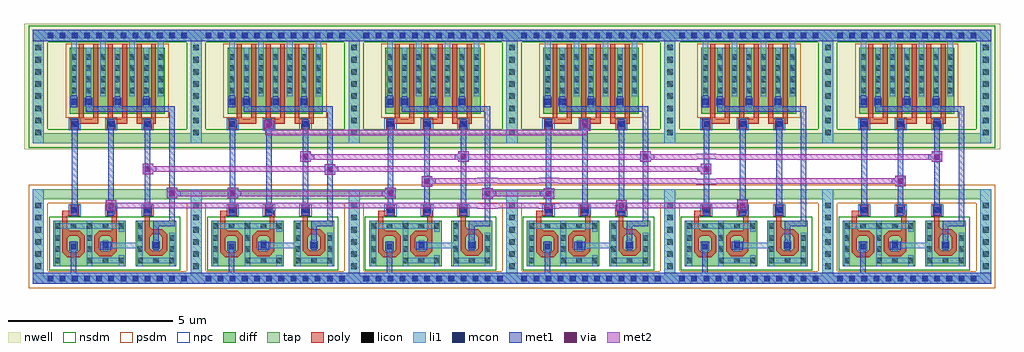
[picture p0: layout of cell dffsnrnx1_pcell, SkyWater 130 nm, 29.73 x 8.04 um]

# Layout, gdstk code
from math import pi, radians
import gdstk
lib = gdstk.Library(unit=1e-6, precision=1e-09)
def R(c, l, rs):  # rectangles x0, y0, x1, y1
    for r in rs: c.add(gdstk.rectangle(r[:2], r[2:], *l))
def A(c, l, x, y, w, h, nx, ny, dx, dy):  # array of equal rectangles
    R(c, l, [(x+i*dx, y+j*dy, x+i*dx+w, y+j*dy+h) for i in range(nx) for j in range(ny)])
def P(c, l, *ps):  # polygons
    for p in ps: c.add(gdstk.Polygon(p, *l))
nwell = (64, 20)
diff = (65, 20)
tap = (65, 44)
poly = (66, 20)
licon = (66, 44)
li1 = (67, 20)
mcon = (67, 44)
met1 = (68, 20)
via = (68, 44)
met2 = (69, 20)
nsdm = (93, 44)
psdm = (94, 20)
npc = (95, 20)

li1_m1_contact = lib.new_cell('li1_M1_contact')
R(li1_m1_contact, li1, [(-0.085,-0.165,0.085,0.165)])
R(li1_m1_contact, mcon, [(-0.085,-0.085,0.085,0.085)])
R(li1_m1_contact, met1, [(-0.115,-0.115,0.115,-0.085), (-0.265,-0.085,0.145,0.085), (-0.115,0.085,0.115,0.115)])

diff_ring_side = lib.new_cell('diff_ring_side')
R(diff_ring_side, nwell, [(-0.435,3.93,0.435,7.75)])
R(diff_ring_side, tap, [(-0.17,-0.17,0.17,2.72), (-0.17,4.11,0.17,7.57)])
A(diff_ring_side, licon, -0.085, 0.285, 0.17, 0.17, 1, 6, 0, 0.37)
A(diff_ring_side, licon, -0.085, 4.355, 0.17, 0.17, 1, 8, 0, 0.37)
R(diff_ring_side, li1, [(-0.17,-0.17,0.17,2.72), (-0.17,4.11,0.17,7.57)])
R(diff_ring_side, met1, [(-0.17,-0.17,0.17,0.17), (-0.17,7.23,0.17,7.57)])
R(diff_ring_side, nsdm, [(-0.295,3.985,0.295,7.695)])
R(diff_ring_side, psdm, [(-0.295,-0.295,0.295,2.845)])

nmos_bottom = lib.new_cell('nmos_bottom')
R(nmos_bottom, diff, [(0,0,1.24,1.38)])
R(nmos_bottom, poly, [(0.43,0.27,0.81,0.42), (0.28,0.42,0.43,0.925), (0.81,0.42,0.96,0.925), (0.43,0.925,0.96,1.075), (0.81,1.075,0.96,1.51)])
P(nmos_bottom, poly, [(0.73,1.075),(0.81,1.075),(0.81,1.155)],
  [(0.28,0.925),(0.43,0.925),(0.43,1.075)],
  [(0.43,0.845),(0.43,0.925),(0.51,0.925)],
  [(0.73,0.925),(0.81,0.925),(0.81,0.845)],
  [(0.43,0.5),(0.43,0.42),(0.51,0.42)],
  [(0.73,0.42),(0.81,0.42),(0.81,0.5)],
  [(0.28,0.42),(0.43,0.42),(0.43,0.27)],
  [(0.81,0.27),(0.81,0.42),(0.96,0.42)])
A(nmos_bottom, licon, 0.05, 1.13, 0.17, 0.17, 3, 1, 0.485, 0)
R(nmos_bottom, licon, [(0.05,0.08,0.22,0.25), (1.02,0.08,1.19,0.25), (0.05,0.43,0.22,0.6), (1.02,0.43,1.19,0.6), (0.535,0.505,0.705,0.675), (0.05,0.77,0.22,0.94), (1.02,0.77,1.19,0.94)])
R(nmos_bottom, li1, [(0.05,0,0.22,1.13), (1.02,0,1.19,1.13), (0.535,0.425,0.705,0.755), (0.05,1.13,1.19,1.3), (0.05,1.3,0.22,1.38), (1.02,1.3,1.19,1.38)])
R(nmos_bottom, nsdm, [(-0.125,-0.125,1.365,1.505)])

pmos2 = lib.new_cell('pmos2')
R(pmos2, nwell, [(0.26,-2.18,1.76,0.18)])
R(pmos2, diff, [(0.44,-2,1.58,0)])
R(pmos2, poly, [(0.72,-2.305,1.31,-2.155), (0.72,-2.155,0.87,0.13), (1.16,-2.155,1.31,0.13)])
A(pmos2, licon, 0.49, -1.38, 0.17, 0.17, 3, 4, 0.44, 0.34)
R(pmos2, li1, [(0.49,-1.465,0.66,0.21), (0.93,-1.465,1.1,0), (1.37,-1.465,1.54,0.21)])
R(pmos2, psdm, [(0.315,-2.125,1.705,0.125)])

poly_li1_contact = lib.new_cell('poly_li1_contact')
R(poly_li1_contact, poly, [(-0.16,-0.14,0.17,0.13)])
R(poly_li1_contact, licon, [(-0.08,-0.09,0.09,0.08)])
R(poly_li1_contact, li1, [(-0.16,-0.09,0.17,0.08)])
R(poly_li1_contact, npc, [(-0.18,-0.19,0.19,0.18)])

nmos_side_left = lib.new_cell('nmos_side_left')
R(nmos_side_left, diff, [(0,0,1.24,1.38)])
R(nmos_side_left, poly, [(0.435,0.305,0.81,0.455), (0.285,0.455,0.435,0.925), (0.81,0.455,0.96,0.925), (0.435,0.925,0.96,1.075), (0.81,1.075,0.96,1.51)])
P(nmos_side_left, poly, [(0.285,0.925),(0.435,0.925),(0.435,1.075)],
  [(0.435,0.845),(0.435,0.925),(0.515,0.925)],
  [(0.73,0.925),(0.81,0.925),(0.81,0.845)],
  [(0.435,0.535),(0.435,0.455),(0.515,0.455)],
  [(0.73,0.455),(0.81,0.455),(0.81,0.535)],
  [(0.285,0.455),(0.435,0.455),(0.435,0.305)],
  [(0.81,0.305),(0.81,0.455),(0.96,0.455)])
A(nmos_side_left, licon, 0.05, 0.08, 0.17, 0.17, 3, 2, 0.485, 1.05)
R(nmos_side_left, licon, [(0.05,0.43,0.22,0.6), (0.54,0.535,0.71,0.705), (0.05,0.77,0.22,0.94)])
R(nmos_side_left, li1, [(0.05,0,0.22,0.08), (1.02,0,1.19,0.08), (0.05,0.08,1.19,0.25), (0.05,0.25,0.22,1.13), (1.02,0.25,1.19,0.33), (0.54,0.455,0.71,0.785), (1.02,1.05,1.19,1.13), (0.05,1.13,1.19,1.3), (0.05,1.3,0.22,1.38), (1.02,1.3,1.19,1.38)])
R(nmos_side_left, nsdm, [(-0.125,-0.125,1.365,1.505)])

nmos_top_trim1 = lib.new_cell('nmos_top_trim1')
R(nmos_top_trim1, diff, [(0,0,1.24,1.38)])
R(nmos_top_trim1, poly, [(0.43,0.31,0.81,0.46), (0.28,0.46,0.43,0.965), (0.81,0.46,0.96,0.965), (0.43,0.965,0.96,1.115), (0.81,1.115,0.96,1.545)])
P(nmos_top_trim1, poly, [(0.73,1.115),(0.81,1.115),(0.81,1.195)],
  [(0.28,0.965),(0.43,0.965),(0.43,1.115)],
  [(0.43,0.885),(0.43,0.965),(0.51,0.965)],
  [(0.73,0.965),(0.81,0.965),(0.81,0.885)],
  [(0.43,0.54),(0.43,0.46),(0.51,0.46)],
  [(0.73,0.46),(0.81,0.46),(0.81,0.54)],
  [(0.28,0.46),(0.43,0.46),(0.43,0.31)],
  [(0.81,0.31),(0.81,0.46),(0.96,0.46)])
A(nmos_top_trim1, licon, 0.05, 0.08, 0.17, 0.17, 3, 1, 0.485, 0)
R(nmos_top_trim1, licon, [(0.05,0.43,0.22,0.6), (1.02,0.43,1.19,0.6), (0.535,0.55,0.705,0.72), (0.05,0.77,0.22,0.94), (1.02,0.77,1.19,0.94), (1.02,1.13,1.19,1.3)])
R(nmos_top_trim1, li1, [(0.05,0,0.22,0.08), (1.02,0,1.19,0.08), (0.05,0.08,1.19,0.25), (0.05,0.25,0.22,1.02), (1.02,0.25,1.19,1.38), (0.535,0.47,0.705,0.805)])
R(nmos_top_trim1, nsdm, [(-0.125,-0.125,1.365,1.505)])

nand3x1_pcell = lib.new_cell('nand3x1_pcell')
R(nand3x1_pcell, nwell, [(0.435,3.93,4.375,5.28), (0.435,5.28,1.1,5.295), (1.395,5.28,4.375,5.495), (0.435,5.295,1.025,5.465), (1.145,5.295,1.315,5.465), (0.435,5.465,1.1,5.495), (0.435,5.495,4.375,7.75)])
A(nand3x1_pcell, diff, 1.445, 5.295, 0.17, 0.17, 3, 1, 0.88, 0)
R(nand3x1_pcell, diff, [(1.005,5.295,1.175,5.465)])
R(nand3x1_pcell, tap, [(0.17,-0.17,4.64,0.085), (0.17,2.41,4.64,2.72), (0.17,4.11,4.64,4.42), (0.17,7.315,4.64,7.57)])
R(nand3x1_pcell, poly, [(0.735,1.885,0.885,1.915), (2.235,1.885,2.385,1.915), (0.735,1.915,0.975,2.065), (2.355,1.915,2.385,2.065)])
A(nand3x1_pcell, licon, 0.285, -0.085, 0.17, 0.17, 12, 2, 0.37, 7.4)
A(nand3x1_pcell, licon, 1.445, 5.295, 0.17, 0.17, 3, 1, 0.88, 0)
R(nand3x1_pcell, licon, [(1.005,5.295,1.175,5.465)])
A(nand3x1_pcell, li1, 1.025, 1.995, 0.17, 0.17, 3, 2, 1.11, 2.62)
R(nand3x1_pcell, li1, [(0.17,-0.17,4.65,0.17), (0.99,0.88,1.16,1.05), (1.965,0.91,3.015,1.08), (3.5,0.925,3.67,1.095), (1.005,5.215,1.175,5.6), (1.445,5.215,1.615,5.56), (2.325,5.215,2.495,5.585), (3.205,5.215,3.375,5.56), (0.07,7.23,4.715,7.57)])
A(nand3x1_pcell, mcon, 0.285, -0.085, 0.17, 0.17, 12, 2, 0.37, 7.4)
A(nand3x1_pcell, mcon, 1.025, 1.995, 0.17, 0.17, 3, 2, 1.11, 2.62)
A(nand3x1_pcell, mcon, 1.445, 5.295, 0.17, 0.17, 3, 1, 0.88, 0)
R(nand3x1_pcell, mcon, [(0.99,0.88,1.16,1.05), (1.965,0.91,2.135,1.08), (3.5,0.925,3.67,1.095), (1.005,5.295,1.175,5.465)])
A(nand3x1_pcell, met1, 1.025, 1.915, 0.17, 0.04, 3, 1, 1.11, 0)
A(nand3x1_pcell, met1, 1.445, 5.495, 0.17, 0.06, 3, 1, 0.88, 0)
R(nand3x1_pcell, met1, [(0.17,-0.17,4.64,0.17), (0.99,0.17,1.16,0.835), (0.945,0.835,1.205,1.11), (1.89,0.865,2.225,1.115), (3.5,0.865,3.67,0.895), (3.47,0.895,3.7,1.125), (3.5,1.125,3.67,1.58), (3.5,1.58,4.155,1.75), (3.985,1.75,4.155,5.07), (0.995,1.955,1.225,2.195), (2.105,1.955,2.34,2.195), (3.215,1.955,3.445,2.195), (1.025,2.195,1.195,4.575), (2.135,2.195,2.305,4.585), (3.245,2.195,3.415,4.57), (3.215,4.57,3.445,4.815), (0.99,4.575,1.23,4.835), (2.105,4.585,2.335,4.815), (2.135,4.815,2.305,4.845), (3.245,4.815,3.415,4.845), (1.025,4.835,1.195,4.845), (1.445,5.07,4.155,5.24), (0.965,5.215,1.205,5.535), (1.415,5.24,1.65,5.495), (2.29,5.24,2.53,5.495), (3.175,5.24,3.405,5.495), (1.005,5.535,1.175,5.58), (0.17,7.23,4.64,7.57)])
R(nand3x1_pcell, nsdm, [(2.79,0.25,2.84,1.88), (0.045,3.985,4.765,4.545), (0.045,7.19,4.765,7.695)])
R(nand3x1_pcell, psdm, [(0.045,-0.295,4.765,0.21), (0.045,2.285,4.765,2.845), (0.88,5.17,1.74,5.59), (2.2,5.17,2.62,5.59), (3.08,5.17,3.5,5.59)])
nand3x1_pcell.add(gdstk.Reference(diff_ring_side, (0,0)))
nand3x1_pcell.add(gdstk.Reference(nmos_bottom, (1.695,0.375), rotation=pi, x_reflection=True))
nand3x1_pcell.add(gdstk.Reference(pmos2, (0.515,7.02)))
nand3x1_pcell.add(gdstk.Reference(poly_li1_contact, (1.115,4.705), rotation=3*pi/2))
nand3x1_pcell.add(gdstk.Reference(poly_li1_contact, (1.105,2.075), rotation=pi/2))
nand3x1_pcell.add(gdstk.Reference(nmos_side_left, (1.425,0.375)))
nand3x1_pcell.add(gdstk.Reference(pmos2, (1.395,7.02)))
nand3x1_pcell.add(gdstk.Reference(pmos2, (2.275,7.02)))
nand3x1_pcell.add(gdstk.Reference(poly_li1_contact, (2.215,2.075), rotation=pi/2))
nand3x1_pcell.add(gdstk.Reference(poly_li1_contact, (2.215,4.695), rotation=pi/2))
nand3x1_pcell.add(gdstk.Reference(nmos_top_trim1, (4.205,0.375), rotation=pi, x_reflection=True))
nand3x1_pcell.add(gdstk.Reference(poly_li1_contact, (3.325,2.075), rotation=pi/2))
nand3x1_pcell.add(gdstk.Reference(poly_li1_contact, (3.335,4.705), rotation=3*pi/2))
nand3x1_pcell.add(gdstk.Reference(diff_ring_side, (4.81,0)))

dffsnrnx1_pcell = lib.new_cell('dffsnrnx1_pcell')
R(dffsnrnx1_pcell, met1, [(2.06,2.06,2.38,2.38), (17.605,2.065,17.925,2.385), (21.295,2.07,21.615,2.39), (13.53,2.43,13.85,2.75), (15.39,2.43,15.71,2.75), (3.915,2.445,4.235,2.765), (5.765,2.445,6.085,2.765), (10.57,2.445,10.89,2.765), (11.68,2.785,12,3.105), (26.11,2.805,26.43,3.125), (8.72,3.155,9.04,3.475), (20.185,3.17,20.505,3.49), (3.18,3.175,3.5,3.495), (27.22,3.545,27.54,3.865), (7.98,3.555,8.3,3.875), (12.79,3.555,13.11,3.875), (18.33,3.555,18.65,3.875), (6.865,4.495,7.185,4.815), (16.495,4.495,16.815,4.815)])
R(dffsnrnx1_pcell, via, [(2.145,2.145,2.295,2.295), (17.69,2.15,17.84,2.3), (21.38,2.155,21.53,2.305), (13.615,2.515,13.765,2.665), (15.475,2.515,15.625,2.665), (4,2.53,4.15,2.68), (5.85,2.53,6,2.68), (10.655,2.53,10.805,2.68), (11.765,2.87,11.915,3.02), (26.195,2.89,26.345,3.04), (8.805,3.24,8.955,3.39), (20.27,3.255,20.42,3.405), (3.265,3.26,3.415,3.41), (27.305,3.63,27.455,3.78), (8.065,3.64,8.215,3.79), (12.875,3.64,13.025,3.79), (18.415,3.64,18.565,3.79), (6.95,4.58,7.1,4.73), (16.58,4.58,16.73,4.73)])
R(dffsnrnx1_pcell, met2, [(2.06,2.06,2.38,2.135), (17.605,2.065,17.925,2.135), (21.295,2.07,21.615,2.135), (13.39,2.12,13.99,2.135), (15.25,2.12,15.85,2.135), (2.06,2.135,21.615,2.29), (2.06,2.29,13.39,2.305), (13.99,2.29,15.25,2.305), (15.85,2.29,21.615,2.305), (2.06,2.305,2.38,2.38), (17.605,2.305,17.925,2.385), (21.295,2.305,21.615,2.39), (13.53,2.43,13.85,2.505), (15.39,2.43,15.71,2.505), (3.915,2.445,4.235,2.505), (5.765,2.445,6.085,2.505), (10.57,2.445,10.89,2.505), (3.915,2.505,10.89,2.675), (13.53,2.505,15.71,2.675), (3.915,2.675,4.235,2.765), (5.765,2.675,6.085,2.765), (10.57,2.675,10.89,2.765), (13.53,2.675,13.85,2.75), (15.39,2.675,15.71,2.75), (11.68,2.785,12,2.875), (26.11,2.805,26.43,2.875), (20.045,2.86,20.645,2.875), (11.68,2.875,13.39,2.89), (13.99,2.875,15.25,2.89), (15.85,2.875,26.43,2.89), (11.68,2.89,26.43,3.03), (11.68,3.03,20.045,3.045), (20.645,3.03,26.43,3.045), (11.68,3.045,12,3.105), (13.39,3.045,13.99,3.06), (15.25,3.045,15.85,3.06), (26.11,3.045,26.43,3.125), (8.72,3.155,9.04,3.245), (20.185,3.17,20.505,3.245), (3.18,3.175,3.5,3.245), (3.18,3.245,20.505,3.415), (3.18,3.415,3.5,3.495), (8.72,3.415,9.04,3.475), (20.185,3.415,20.505,3.49), (27.22,3.545,27.54,3.615), (7.98,3.555,8.3,3.615), (12.79,3.555,13.11,3.615), (18.33,3.555,18.65,3.615), (7.98,3.615,20.045,3.63), (20.645,3.615,27.54,3.63), (7.98,3.63,27.54,3.785), (7.98,3.785,8.3,3.875), (12.79,3.785,13.11,3.875), (18.33,3.785,18.65,3.875), (20.045,3.785,20.645,3.8), (27.22,3.785,27.54,3.865), (6.91,4.355,16.715,4.495), (6.865,4.495,16.815,4.525), (6.865,4.525,7.185,4.815), (16.495,4.525,16.815,4.815)])
dffsnrnx1_pcell.add(gdstk.Reference(li1_m1_contact, (3.33,3.33), rotation=pi))
dffsnrnx1_pcell.add(gdstk.Reference(li1_m1_contact, (4.07,2.59), rotation=pi))
dffsnrnx1_pcell.add(gdstk.Reference(nand3x1_pcell, (0,0)))
dffsnrnx1_pcell.add(gdstk.Reference(nand3x1_pcell, (4.81,0)))
dffsnrnx1_pcell.add(gdstk.Reference(li1_m1_contact, (8.14,3.7), rotation=pi))
dffsnrnx1_pcell.add(gdstk.Reference(li1_m1_contact, (5.92,2.59), rotation=pi))
dffsnrnx1_pcell.add(gdstk.Reference(li1_m1_contact, (8.88,3.33), rotation=pi))
dffsnrnx1_pcell.add(gdstk.Reference(li1_m1_contact, (10.73,2.59)))
dffsnrnx1_pcell.add(gdstk.Reference(nand3x1_pcell, (9.62,0)))
dffsnrnx1_pcell.add(gdstk.Reference(li1_m1_contact, (12.95,3.7)))
dffsnrnx1_pcell.add(gdstk.Reference(li1_m1_contact, (11.84,2.96), rotation=pi))
dffsnrnx1_pcell.add(gdstk.Reference(li1_m1_contact, (13.69,2.59), rotation=pi))
dffsnrnx1_pcell.add(gdstk.Reference(li1_m1_contact, (15.54,2.59)))
dffsnrnx1_pcell.add(gdstk.Reference(nand3x1_pcell, (14.43,0)))
dffsnrnx1_pcell.add(gdstk.Reference(li1_m1_contact, (18.5,3.7), rotation=pi))
dffsnrnx1_pcell.add(gdstk.Reference(li1_m1_contact, (20.35,3.33)))
dffsnrnx1_pcell.add(gdstk.Reference(nand3x1_pcell, (19.24,0)))
dffsnrnx1_pcell.add(gdstk.Reference(li1_m1_contact, (27.38,3.7)))
dffsnrnx1_pcell.add(gdstk.Reference(li1_m1_contact, (26.27,2.96)))
dffsnrnx1_pcell.add(gdstk.Reference(nand3x1_pcell, (24.05,0)))

lib.write_gds('dffsnrnx1_pcell.gds')
